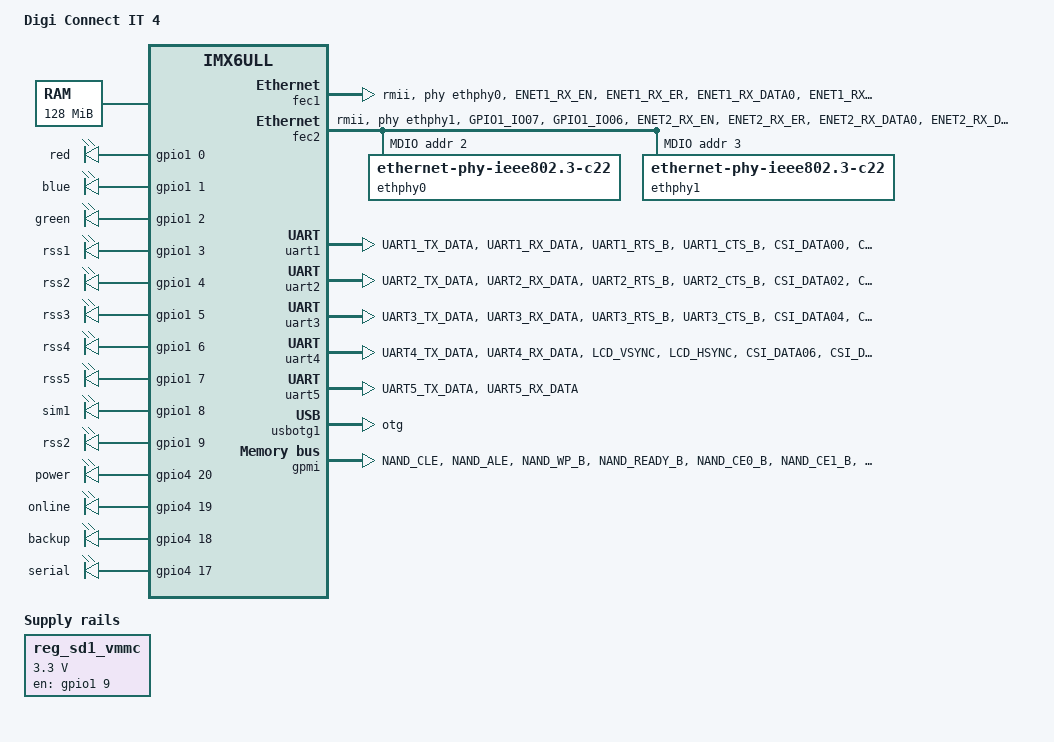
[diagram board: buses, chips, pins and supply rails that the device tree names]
/*
 * Copyright (C) 2016 Freescale Semiconductor, Inc.
 * Copyright (C) 2017-2018 Accelerated Concepts Pty Ltd
 *
 * This program is free software; you can redistribute it and/or modify
 * it under the terms of the GNU General Public License version 2 as
 * published by the Free Software Foundation.
 */

/dts-v1/;

#include "imx6ull.dtsi"

/ {
	model = "Digi Connect IT 4";
	compatible = "digi,connectit4", "fsl,imx6ull";

	chosen {
		stdout-path = &uart5;
	};

	memory {
		device_type = "memory";
		reg = <0x80000000 0x8000000>;
	};

	cpus {
		cpu0: cpu@0 {
			operating-points = <
                                /* kHz  uV */
                                900000  1275000
                                528000  1175000
                                396000  1025000
                                198000  950000
                        >;
                        fsl,soc-operating-points = <
                                /* KHz  uV */
                                900000  1275000
                                528000  1175000
                                396000  1175000
                                198000  1175000
                        >;
		};
	};

	regulators {
		compatible = "simple-bus";
		#address-cells = <1>;
		#size-cells = <0>;

		reg_sd1_vmmc: regulator@1 {
			compatible = "regulator-fixed";
			regulator-name = "VSD_3V3";
			regulator-min-microvolt = <3300000>;
			regulator-max-microvolt = <3300000>;
			gpio = <&gpio1 9 GPIO_ACTIVE_HIGH>;
			enable-active-high;
		};
	};

	leds {
		compatible = "gpio-leds";

		red-led {
			label = "red";
			pinctrl-names = "default";
			pinctrl-0 = <&pinctrl_leds>;
			gpios = <&gpio1 0 GPIO_ACTIVE_HIGH>;
			linux,default-trigger = "none";
		};

		blue-led {
			label = "blue";
			pinctrl-names = "default";
			pinctrl-0 = <&pinctrl_leds>;
			gpios = <&gpio1 1 GPIO_ACTIVE_HIGH>;
			linux,default-trigger = "none";
		};

		green-led {
			label = "green";
			pinctrl-names = "default";
			pinctrl-0 = <&pinctrl_leds>;
			gpios = <&gpio1 2 GPIO_ACTIVE_HIGH>;
			linux,default-trigger = "none";
		};

		rss1-led {
			label = "rss1";
			pinctrl-names = "default";
			pinctrl-0 = <&pinctrl_leds>;
			gpios = <&gpio1 3 GPIO_ACTIVE_HIGH>;
			linux,default-trigger = "none";
		};

		rss2-led {
			label = "rss2";
			pinctrl-names = "default";
			pinctrl-0 = <&pinctrl_leds>;
			gpios = <&gpio1 4 GPIO_ACTIVE_HIGH>;
			linux,default-trigger = "none";
		};

		rss3-led {
			label = "rss3";
			pinctrl-names = "default";
			pinctrl-0 = <&pinctrl_leds>;
			gpios = <&gpio1 5 GPIO_ACTIVE_HIGH>;
			linux,default-trigger = "none";
		};

		rss4-led {
			label = "rss4";
			pinctrl-names = "default";
			pinctrl-0 = <&pinctrl_leds>;
			gpios = <&gpio1 6 GPIO_ACTIVE_HIGH>;
			linux,default-trigger = "none";
		};

		rss5-led {
			label = "rss5";
			pinctrl-names = "default";
			pinctrl-0 = <&pinctrl_leds>;
			gpios = <&gpio1 7 GPIO_ACTIVE_HIGH>;
			linux,default-trigger = "none";
		};

		sim1-led {
			label = "sim1";
			pinctrl-names = "default";
			pinctrl-0 = <&pinctrl_leds>;
			gpios = <&gpio1 8 GPIO_ACTIVE_HIGH>;
			linux,default-trigger = "none";
		};

		sim2-led {
			label = "rss2";
			pinctrl-names = "default";
			pinctrl-0 = <&pinctrl_leds>;
			gpios = <&gpio1 9 GPIO_ACTIVE_HIGH>;
			linux,default-trigger = "none";
		};

		power-led {
			label = "power";
			pinctrl-names = "default";
			pinctrl-0 = <&pinctrl_leds>;
			gpios = <&gpio4 20 GPIO_ACTIVE_HIGH>;
			linux,default-trigger = "none";
		};

		online-led {
			label = "online";
			pinctrl-names = "default";
			pinctrl-0 = <&pinctrl_leds>;
			gpios = <&gpio4 19 GPIO_ACTIVE_HIGH>;
			linux,default-trigger = "none";
		};

		backup-led {
			label = "backup";
			pinctrl-names = "default";
			pinctrl-0 = <&pinctrl_leds>;
			gpios = <&gpio4 18 GPIO_ACTIVE_HIGH>;
			linux,default-trigger = "none";
		};

		serial-led {
			label = "serial";
			pinctrl-names = "default";
			pinctrl-0 = <&pinctrl_leds>;
			gpios = <&gpio4 17 GPIO_ACTIVE_HIGH>;
			linux,default-trigger = "none";
		};
	};
};

&cpu0 {
	arm-supply = <&reg_arm>;
	soc-supply = <&reg_soc>;
};

&fec1 {
	pinctrl-names = "default";
	pinctrl-0 = <&pinctrl_enet1>;
	phy-mode = "rmii";
	phy-handle = <&ethphy0>;
	status = "okay";
};

&fec2 {
	pinctrl-names = "default";
	pinctrl-0 = <&pinctrl_enet2>;
	phy-mode = "rmii";
	phy-handle = <&ethphy1>;
	status = "okay";

	mdio {
		#address-cells = <1>;
		#size-cells = <0>;

		ethphy0: ethernet-phy@2 {
			compatible = "ethernet-phy-ieee802.3-c22";
			reg = <2>;
		};

		ethphy1: ethernet-phy@3 {
			compatible = "ethernet-phy-ieee802.3-c22";
			reg = <3>;
		};
	};
};

&uart1 {
	pinctrl-names = "default";
	pinctrl-0 = <&pinctrl_uart1>;
	uart-has-rtscts;
	dtr-gpios = <&gpio4 22 GPIO_ACTIVE_LOW>;
	dcd-gpios = <&gpio4 21 GPIO_ACTIVE_LOW>;
	status = "okay";
};

&uart2 {
	pinctrl-names = "default";
	pinctrl-0 = <&pinctrl_uart2>;
	uart-has-rtscts;
	dtr-gpios = <&gpio4 24 GPIO_ACTIVE_LOW>;
	dcd-gpios = <&gpio4 23 GPIO_ACTIVE_LOW>;
	status = "okay";
};

&uart3 {
	pinctrl-names = "default";
	pinctrl-0 = <&pinctrl_uart3>;
	uart-has-rtscts;
	dtr-gpios = <&gpio4 26 GPIO_ACTIVE_LOW>;
	dcd-gpios = <&gpio4 25 GPIO_ACTIVE_LOW>;
	status = "okay";
};

&uart4 {
	pinctrl-names = "default";
	pinctrl-0 = <&pinctrl_uart4>;
	uart-has-rtscts;
	dtr-gpios = <&gpio4 28 GPIO_ACTIVE_LOW>;
	dcd-gpios = <&gpio4 27 GPIO_ACTIVE_LOW>;
	status = "okay";
};

&uart5 {
	pinctrl-names = "default";
	pinctrl-0 = <&pinctrl_uart5>;
	status = "okay";
};

&usbotg1 {
	dr_mode = "otg";
	srp-disable;
	hnp-disable;
	adp-disable;
	status = "okay";
};

&usbphy1 {
	tx-d-cal = <0x5>;
};

&wdog1 {
	pinctrl-names = "default";
	pinctrl-0 = <&pinctrl_wdog>;
	fsl,wdog_b;
};

&gpmi {
	pinctrl-names = "default";
	pinctrl-0 = <&pinctrl_gpmi_nand>;
	status = "okay";
	fsl,legacy-bch-geometry;

	partition@0 {
		label="u-boot";
		reg = <0x00000000 0x00500000>;
	};
	partition@1 {
		label="u-boot-env";
		reg = <0x00500000 0x00100000>;
	};
	partition@2 {
		label="log";
		reg = <0x00600000 0x00200000>;
	};
	partition@3 {
		label="flash";
		reg = <0x00800000 0>;
	};
	partition@4 {
		label="all";
		reg = <0x00000000 0>;
	};
};

&iomuxc {
	pinctrl-names = "default";

	pinctrl_enet1: enet1grp {
		fsl,pins = <
			MX6UL_PAD_ENET1_RX_EN__ENET1_RX_EN	0x1b0b0
			MX6UL_PAD_ENET1_RX_ER__ENET1_RX_ER	0x1b0b0
			MX6UL_PAD_ENET1_RX_DATA0__ENET1_RDATA00	0x1b0b0
			MX6UL_PAD_ENET1_RX_DATA1__ENET1_RDATA01	0x1b0b0
			MX6UL_PAD_ENET1_TX_EN__ENET1_TX_EN	0x1b0b0
			MX6UL_PAD_ENET1_TX_DATA0__ENET1_TDATA00	0x1b0b0
			MX6UL_PAD_ENET1_TX_DATA1__ENET1_TDATA01	0x1b0b0
			MX6UL_PAD_ENET1_TX_CLK__ENET1_REF_CLK1	0x4001b031
		>;
	};

	pinctrl_enet2: enet2grp {
		fsl,pins = <
			MX6UL_PAD_GPIO1_IO07__ENET2_MDC		0x1b0b0
			MX6UL_PAD_GPIO1_IO06__ENET2_MDIO	0x1b0b0
			MX6UL_PAD_ENET2_RX_EN__ENET2_RX_EN	0x1b0b0
			MX6UL_PAD_ENET2_RX_ER__ENET2_RX_ER	0x1b0b0
			MX6UL_PAD_ENET2_RX_DATA0__ENET2_RDATA00	0x1b0b0
			MX6UL_PAD_ENET2_RX_DATA1__ENET2_RDATA01	0x1b0b0
			MX6UL_PAD_ENET2_TX_EN__ENET2_TX_EN	0x1b0b0
			MX6UL_PAD_ENET2_TX_DATA0__ENET2_TDATA00	0x1b0b0
			MX6UL_PAD_ENET2_TX_DATA1__ENET2_TDATA01	0x1b0b0
			MX6UL_PAD_ENET2_TX_CLK__ENET2_REF_CLK2	0x4001b031
		>;
	};

	pinctrl_uart1: uart1grp {
		fsl,pins = <
			MX6UL_PAD_UART1_TX_DATA__UART1_DCE_TX 0x1b0b1
			MX6UL_PAD_UART1_RX_DATA__UART1_DCE_RX 0x1b0b1
			MX6UL_PAD_UART1_RTS_B__UART1_DCE_RTS 0x1b0b1
			MX6UL_PAD_UART1_CTS_B__UART1_DCE_CTS 0x1b0b1
			MX6UL_PAD_CSI_DATA00__GPIO4_IO21 0x1b0b1
			MX6UL_PAD_CSI_DATA01__GPIO4_IO22 0x1b0b1
		>;
	};

	pinctrl_uart2: uart2grp {
		fsl,pins = <
			MX6UL_PAD_UART2_TX_DATA__UART2_DCE_TX 0x1b0b1
			MX6UL_PAD_UART2_RX_DATA__UART2_DCE_RX 0x1b0b1
			MX6UL_PAD_UART2_RTS_B__UART2_DCE_RTS 0x1b0b1
			MX6UL_PAD_UART2_CTS_B__UART2_DCE_CTS 0x1b0b1
			MX6UL_PAD_CSI_DATA02__GPIO4_IO23 0x1b0b1
			MX6UL_PAD_CSI_DATA03__GPIO4_IO24 0x1b0b1
		>;
	};

	pinctrl_uart3: uart3grp {
		fsl,pins = <
			MX6UL_PAD_UART3_TX_DATA__UART3_DCE_TX 0x1b0b1
			MX6UL_PAD_UART3_RX_DATA__UART3_DCE_RX 0x1b0b1
			MX6UL_PAD_UART3_RTS_B__UART3_DCE_RTS 0x1b0b1
			MX6UL_PAD_UART3_CTS_B__UART3_DCE_CTS 0x1b0b1
			MX6UL_PAD_CSI_DATA04__GPIO4_IO25  0x1b0b1
			MX6UL_PAD_CSI_DATA05__GPIO4_IO26 0x1b0b1
		>;
	};

	pinctrl_uart4: uart4grp {
		fsl,pins = <
			MX6UL_PAD_UART4_TX_DATA__UART4_DCE_TX 0x1b0b1
			MX6UL_PAD_UART4_RX_DATA__UART4_DCE_RX 0x1b0b1
			MX6UL_PAD_LCD_VSYNC__UART4_DCE_RTS 0x1b0b1
			MX6UL_PAD_LCD_HSYNC__UART4_DCE_CTS 0x1b0b1
			MX6UL_PAD_CSI_DATA06__GPIO4_IO27 0x1b0b1
			MX6UL_PAD_CSI_DATA07__GPIO4_IO28 0x1b0b1
		>;
	};

	pinctrl_uart5: uart5grp {
		fsl,pins = <
			MX6UL_PAD_UART5_TX_DATA__UART5_DCE_TX 0x1b0b1
			MX6UL_PAD_UART5_RX_DATA__UART5_DCE_RX 0x1b0b1
		>;
	};

	pinctrl_wdog: wdoggrp {
		fsl,pins = <
			MX6UL_PAD_LCD_RESET__WDOG1_WDOG_ANY    0x30b0
		>;
	};

	pinctrl_gpmi_nand: gpmi-nand-1 {
		fsl,pins = <
			MX6UL_PAD_NAND_CLE__RAWNAND_CLE         0xb0b1
			MX6UL_PAD_NAND_ALE__RAWNAND_ALE         0xb0b1
			MX6UL_PAD_NAND_WP_B__RAWNAND_WP_B       0xb0b1
			MX6UL_PAD_NAND_READY_B__RAWNAND_READY_B 0xb000
			MX6UL_PAD_NAND_CE0_B__RAWNAND_CE0_B     0xb0b1
			MX6UL_PAD_NAND_CE1_B__RAWNAND_CE1_B     0xb0b1
			MX6UL_PAD_NAND_RE_B__RAWNAND_RE_B       0xb0b1
			MX6UL_PAD_NAND_WE_B__RAWNAND_WE_B       0xb0b1
			MX6UL_PAD_NAND_DATA00__RAWNAND_DATA00   0xb0b1
			MX6UL_PAD_NAND_DATA01__RAWNAND_DATA01   0xb0b1
			MX6UL_PAD_NAND_DATA02__RAWNAND_DATA02   0xb0b1
			MX6UL_PAD_NAND_DATA03__RAWNAND_DATA03   0xb0b1
			MX6UL_PAD_NAND_DATA04__RAWNAND_DATA04   0xb0b1
			MX6UL_PAD_NAND_DATA05__RAWNAND_DATA05   0xb0b1
			MX6UL_PAD_NAND_DATA06__RAWNAND_DATA06   0xb0b1
			MX6UL_PAD_NAND_DATA07__RAWNAND_DATA07   0xb0b1
		>;
	};

	pinctrl_leds: ledsgrp {
		fsl,pins = <
			MX6UL_PAD_GPIO1_IO00__GPIO1_IO00	0x00010
			MX6UL_PAD_GPIO1_IO01__GPIO1_IO01	0x00010
			MX6UL_PAD_GPIO1_IO02__GPIO1_IO02	0x00010
			MX6UL_PAD_GPIO1_IO03__GPIO1_IO03	0x00010
			MX6UL_PAD_GPIO1_IO04__GPIO1_IO04	0x00010
			MX6UL_PAD_GPIO1_IO05__GPIO1_IO05	0x00010
			MX6UL_PAD_SNVS_TAMPER0__GPIO5_IO00	0x00010
			MX6UL_PAD_SNVS_TAMPER1__GPIO5_IO01	0x00010
			MX6UL_PAD_GPIO1_IO08__GPIO1_IO08	0x00010
			MX6UL_PAD_GPIO1_IO09__GPIO1_IO09	0x00010
			MX6UL_PAD_CSI_MCLK__GPIO4_IO17		0x00010
			MX6UL_PAD_CSI_PIXCLK__GPIO4_IO18	0x00010
			MX6UL_PAD_CSI_VSYNC__GPIO4_IO19		0x00010
			MX6UL_PAD_CSI_HSYNC__GPIO4_IO20		0x00010

			MX6UL_PAD_SD1_CMD__GPIO2_IO16		0x00010
			MX6UL_PAD_SD1_CLK__GPIO2_IO17		0x00010
			MX6UL_PAD_LCD_ENABLE__GPIO3_IO01	0x00010

			MX6UL_PAD_SD1_DATA0__GPIO2_IO18		0x00010
			MX6UL_PAD_SD1_DATA1__GPIO2_IO19		0x00010
			MX6UL_PAD_SD1_DATA2__GPIO2_IO20		0x00010
			MX6UL_PAD_SD1_DATA3__GPIO2_IO21		0x00010
		>;
	};
};

